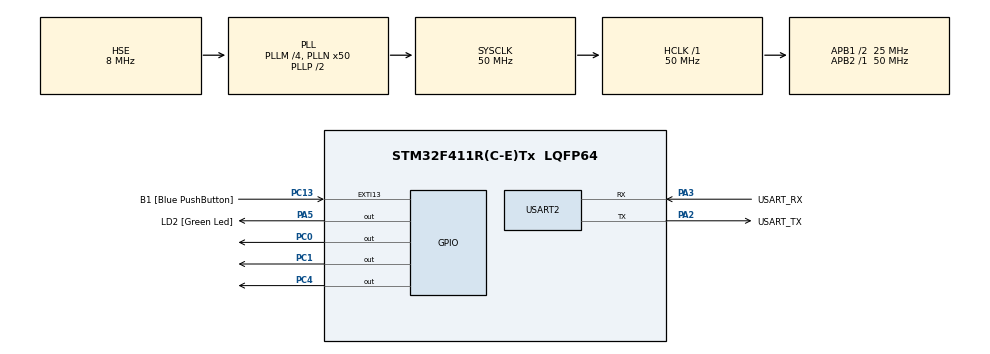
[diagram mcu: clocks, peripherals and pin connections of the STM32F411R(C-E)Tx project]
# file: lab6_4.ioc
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FREERTOS.BinarySemaphores01=myBinarySem01,Dynamic,NULL
FREERTOS.Queues01=myQueue01,16,msg,0,Dynamic,NULL,NULL
FREERTOS.Tasks01=defaultTask,24,128,StartDefaultTask,Default,NULL,Dynamic,NULL,NULL;myTask02,24,1024,StartTask02,Default,NULL,Dynamic,NULL,NULL;myTask03,40,1024,StartTask03,Default,NULL,Dynamic,NULL,NULL;myTask04,8,1024,StartTask04,Default,NULL,Dynamic,NULL,NULL
FREERTOS.Timers01=tim01,Callback01,osTimerPeriodic,Default,NULL,Dynamic,NULL;tim02,Callback02,osTimerPeriodic,Default,NULL,Dynamic,NULL;tim03,Callback03,osTimerPeriodic,Default,NULL,Dynamic,NULL;tim04,Callback04,osTimerPeriodic,Default,NULL,Dynamic,NULL
FREERTOS.configENABLE_FPU=1
FREERTOS.configTICK_RATE_HZ=1000
Mcu.Family=STM32F4
Mcu.Name=STM32F411R(C-E)Tx
Mcu.Package=LQFP64
NVIC.PriorityGroup=NVIC_PRIORITYGROUP_4
NVIC.TIM4_IRQn=true\:15\:0\:false\:false\:true\:false\:false\:true\:true
NVIC.TimeBase=TIM4_IRQn
NVIC.TimeBaseIP=TIM4
PA13.GPIO_Label=TMS
PA13.Mode=Serial_Wire
PA13.Signal=SYS_JTMS-SWDIO
PA14.GPIO_Label=TCK
PA14.Mode=Serial_Wire
PA14.Signal=SYS_JTCK-SWCLK
PA2.GPIO_Label=USART_TX
PA2.Mode=Asynchronous
PA2.Signal=USART2_TX
PA3.GPIO_Label=USART_RX
PA3.Mode=Asynchronous
PA3.Signal=USART2_RX
PA5.GPIO_Label=LD2 [Green Led]
PA5.Signal=GPIO_Output
PB3.GPIO_Label=SWO
PB3.Signal=SYS_JTDO-SWO
PC0.Signal=GPIO_Output
PC1.Signal=GPIO_Output
PC13-ANTI_TAMP.GPIO_Label=B1 [Blue PushButton]
PC13-ANTI_TAMP.GPIO_ModeDefaultEXTI=GPIO_MODE_IT_FALLING
PC13-ANTI_TAMP.Signal=GPXTI13
PC14-OSC32_IN.Mode=LSE-External-Oscillator
PC14-OSC32_IN.Signal=RCC_OSC32_IN
PC15-OSC32_OUT.Mode=LSE-External-Oscillator
PC15-OSC32_OUT.Signal=RCC_OSC32_OUT
PC4.Signal=GPIO_Output
PH0\ -\ OSC_IN.Mode=HSE-External-Clock-Source
PH0\ -\ OSC_IN.Signal=RCC_OSC_IN
PH1\ -\ OSC_OUT.Mode=HSE-External-Clock-Source
PH1\ -\ OSC_OUT.Signal=RCC_OSC_OUT
ProjectManager.HeapSize=0x200
ProjectManager.StackSize=0x400
ProjectManager.TargetToolchain=STM32CubeIDE
RCC.48MHZClocksFreq_Value=25000000
RCC.AHBFreq_Value=50000000
RCC.APB1CLKDivider=RCC_HCLK_DIV2
RCC.APB1Freq_Value=25000000
RCC.APB1TimFreq_Value=50000000
RCC.APB2Freq_Value=50000000
RCC.APB2TimFreq_Value=50000000
RCC.CortexFreq_Value=50000000
RCC.FLatency-AdvancedSettings=FLASH_LATENCY_1
RCC.HCLKFreq_Value=50000000
RCC.HSE_VALUE=8000000
RCC.HSI_VALUE=16000000
RCC.PLLM=4
RCC.PLLN=50
RCC.PLLSourceVirtual=RCC_PLLSOURCE_HSE
RCC.SYSCLKFreq_VALUE=50000000
RCC.SYSCLKSource=RCC_SYSCLKSOURCE_PLLCLK
RCC.VCOOutputFreq_Value=100000000
USART2.VirtualMode=VM_ASYNC
VP_FREERTOS_VS_CMSIS_V2.Mode=CMSIS_V2
VP_SYS_VS_tim4.Mode=TIM4
board=NUCLEO-F411RE

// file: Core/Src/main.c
/* USER CODE BEGIN Header */
/**
  ******************************************************************************
  * @file           : main.c
  * @brief          : Main program body
  ******************************************************************************
  * @attention
  *
  * Copyright (c) 2023 STMicroelectronics.
  * All rights reserved.
  *
  * This software is licensed under terms that can be found in the LICENSE file
  * in the root directory of this software component.
  * If no LICENSE file comes with this software, it is provided AS-IS.
  *
  ******************************************************************************
  */
/* USER CODE END Header */
#include "main.h"
#include "cmsis_os.h"

/* USER CODE BEGIN Includes */
#include <string.h>
#include <stdio.h>
/* USER CODE END Includes */

/* USER CODE BEGIN PTD */
typedef struct {
    char data[32];
} msg;
/* USER CODE END PTD */

UART_HandleTypeDef huart2;

/* Definitions for defaultTask */
osThreadId_t defaultTaskHandle;
const osThreadAttr_t defaultTask_attributes = {
        .name = "defaultTask",
        .stack_size = 128 * 4,
        .priority = (osPriority_t) osPriorityNormal,
};
/* Definitions for myTask02 */
osThreadId_t myTask02Handle;
const osThreadAttr_t myTask02_attributes = {
        .name = "myTask02",
        .stack_size = 1024 * 4,
        .priority = (osPriority_t) osPriorityNormal,
};
/* Definitions for myTask03 */
osThreadId_t myTask03Handle;
const osThreadAttr_t myTask03_attributes = {
        .name = "myTask03",
        .stack_size = 1024 * 4,
        .priority = (osPriority_t) osPriorityHigh,
};
/* Definitions for myTask04 */
osThreadId_t myTask04Handle;
const osThreadAttr_t myTask04_attributes = {
        .name = "myTask04",
        .stack_size = 1024 * 4,
        .priority = (osPriority_t) osPriorityLow,
};
/* Definitions for myQueue01 */
osMessageQueueId_t myQueue01Handle;
const osMessageQueueAttr_t myQueue01_attributes = {
        .name = "myQueue01"
};
/* Definitions for tim01 */
osTimerId_t tim01Handle;
const osTimerAttr_t tim01_attributes = {
        .name = "tim01"
};
/* Definitions for tim02 */
osTimerId_t tim02Handle;
const osTimerAttr_t tim02_attributes = {
        .name = "tim02"
};
/* Definitions for tim03 */
osTimerId_t tim03Handle;
const osTimerAttr_t tim03_attributes = {
        .name = "tim03"
};
/* Definitions for tim04 */
osTimerId_t tim04Handle;
const osTimerAttr_t tim04_attributes = {
        .name = "tim04"
};
/* Definitions for myBinarySem01 */
osSemaphoreId_t myBinarySem01Handle;
const osSemaphoreAttr_t myBinarySem01_attributes = {
        .name = "myBinarySem01"
};
/* USER CODE BEGIN PV */
osMemoryPoolId_t pool;

/* USER CODE END PV */

void SystemClock_Config(void);

static void MX_GPIO_Init(void);

static void MX_USART2_UART_Init(void);

void StartDefaultTask(void *argument);

void StartTask02(void *argument);

void StartTask03(void *argument);

void StartTask04(void *argument);

void Callback01(void *argument);

void Callback02(void *argument);

void Callback03(void *argument);

void Callback04(void *argument);

int main(void) {

    /* MCU Configuration--------------------------------------------------------*/

    /* Reset of all peripherals, Initializes the Flash interface and the Systick. */
    HAL_Init();

    /* Configure the system clock */
    SystemClock_Config();

    /* Initialize all configured peripherals */
    MX_GPIO_Init();
    MX_USART2_UART_Init();

    /* Init scheduler */
    osKernelInitialize();

    /* Create the semaphores(s) */
    /* creation of myBinarySem01 */
    myBinarySem01Handle = osSemaphoreNew(1, 1, &myBinarySem01_attributes);

    /* Create the timer(s) */
    /* creation of tim01 */
    tim01Handle = osTimerNew(Callback01, osTimerPeriodic, NULL, &tim01_attributes);

    /* creation of tim02 */
    tim02Handle = osTimerNew(Callback02, osTimerPeriodic, NULL, &tim02_attributes);

    /* creation of tim03 */
    tim03Handle = osTimerNew(Callback03, osTimerPeriodic, NULL, &tim03_attributes);

    /* creation of tim04 */
    tim04Handle = osTimerNew(Callback04, osTimerPeriodic, NULL, &tim04_attributes);

    /* USER CODE BEGIN RTOS_TIMERS */
    /* start timers, add new ones, ... */
    osTimerStart(tim01Handle, 50);
    osTimerStart(tim02Handle, 18);
    osTimerStart(tim03Handle, 128);
    osTimerStart(tim04Handle, 64);
    /* USER CODE END RTOS_TIMERS */

    /* Create the queue(s) */
    /* creation of myQueue01 */
    myQueue01Handle = osMessageQueueNew(16, sizeof(msg), &myQueue01_attributes);

    /* Create the thread(s) */
    /* creation of defaultTask */
    defaultTaskHandle = osThreadNew(StartDefaultTask, NULL, &defaultTask_attributes);

    /* creation of myTask02 */
    myTask02Handle = osThreadNew(StartTask02, NULL, &myTask02_attributes);

    /* creation of myTask03 */
    myTask03Handle = osThreadNew(StartTask03, NULL, &myTask03_attributes);

    /* creation of myTask04 */
    myTask04Handle = osThreadNew(StartTask04, NULL, &myTask04_attributes);

    /* USER CODE BEGIN RTOS_THREADS */
    /* add threads, ... */
//    pool = osMemoryPoolNew(16, sizeof(msg), NULL);
    /* USER CODE END RTOS_THREADS */

    /* Start scheduler */
    osKernelStart();
    /* We should never get here as control is now taken by the scheduler */
    /* Infinite loop */
    while (1) {

    }
}

void SystemClock_Config(void) {
    RCC_OscInitTypeDef RCC_OscInitStruct = {0};
    RCC_ClkInitTypeDef RCC_ClkInitStruct = {0};

    /** Configure the main internal regulator output voltage
    */
    __HAL_RCC_PWR_CLK_ENABLE();
    __HAL_PWR_VOLTAGESCALING_CONFIG(PWR_REGULATOR_VOLTAGE_SCALE1);

    /** Initializes the RCC Oscillators according to the specified parameters
    * in the RCC_OscInitTypeDef structure.
    */
    RCC_OscInitStruct.OscillatorType = RCC_OSCILLATORTYPE_HSE;
    RCC_OscInitStruct.HSEState = RCC_HSE_BYPASS;
    RCC_OscInitStruct.PLL.PLLState = RCC_PLL_ON;
    RCC_OscInitStruct.PLL.PLLSource = RCC_PLLSOURCE_HSE;
    RCC_OscInitStruct.PLL.PLLM = 4;
    RCC_OscInitStruct.PLL.PLLN = 50;
    RCC_OscInitStruct.PLL.PLLP = RCC_PLLP_DIV2;
    RCC_OscInitStruct.PLL.PLLQ = 4;
    if (HAL_RCC_OscConfig(&RCC_OscInitStruct) != HAL_OK) {
        Error_Handler();
    }

    /** Initializes the CPU, AHB and APB buses clocks
    */
    RCC_ClkInitStruct.ClockType = RCC_CLOCKTYPE_HCLK | RCC_CLOCKTYPE_SYSCLK
                                  | RCC_CLOCKTYPE_PCLK1 | RCC_CLOCKTYPE_PCLK2;
    RCC_ClkInitStruct.SYSCLKSource = RCC_SYSCLKSOURCE_PLLCLK;
    RCC_ClkInitStruct.AHBCLKDivider = RCC_SYSCLK_DIV1;
    RCC_ClkInitStruct.APB1CLKDivider = RCC_HCLK_DIV2;
    RCC_ClkInitStruct.APB2CLKDivider = RCC_HCLK_DIV1;

    if (HAL_RCC_ClockConfig(&RCC_ClkInitStruct, FLASH_LATENCY_1) != HAL_OK) {
        Error_Handler();
    }
}

static void MX_USART2_UART_Init(void) {

    huart2.Instance = USART2;
    huart2.Init.BaudRate = 115200;
    huart2.Init.WordLength = UART_WORDLENGTH_8B;
    huart2.Init.StopBits = UART_STOPBITS_1;
    huart2.Init.Parity = UART_PARITY_NONE;
    huart2.Init.Mode = UART_MODE_TX_RX;
    huart2.Init.HwFlowCtl = UART_HWCONTROL_NONE;
    huart2.Init.OverSampling = UART_OVERSAMPLING_16;
    if (HAL_UART_Init(&huart2) != HAL_OK) {
        Error_Handler();
    }

}

static void MX_GPIO_Init(void) {
    GPIO_InitTypeDef GPIO_InitStruct = {0};

    /* GPIO Ports Clock Enable */
    __HAL_RCC_GPIOC_CLK_ENABLE();
    __HAL_RCC_GPIOH_CLK_ENABLE();
    __HAL_RCC_GPIOA_CLK_ENABLE();
    __HAL_RCC_GPIOB_CLK_ENABLE();

    /*Configure GPIO pin Output Level */
    HAL_GPIO_WritePin(GPIOC, GPIO_PIN_0 | GPIO_PIN_1 | GPIO_PIN_4, GPIO_PIN_RESET);

    /*Configure GPIO pin Output Level */
    HAL_GPIO_WritePin(LD2_GPIO_Port, LD2_Pin, GPIO_PIN_RESET);

    /*Configure GPIO pin : B1_Pin */
    GPIO_InitStruct.Pin = B1_Pin;
    GPIO_InitStruct.Mode = GPIO_MODE_IT_FALLING;
    GPIO_InitStruct.Pull = GPIO_NOPULL;
    HAL_GPIO_Init(B1_GPIO_Port, &GPIO_InitStruct);

    /*Configure GPIO pins : PC0 PC1 PC4 */
    GPIO_InitStruct.Pin = GPIO_PIN_0 | GPIO_PIN_1 | GPIO_PIN_4;
    GPIO_InitStruct.Mode = GPIO_MODE_OUTPUT_PP;
    GPIO_InitStruct.Pull = GPIO_NOPULL;
    GPIO_InitStruct.Speed = GPIO_SPEED_FREQ_LOW;
    HAL_GPIO_Init(GPIOC, &GPIO_InitStruct);

    /*Configure GPIO pin : LD2_Pin */
    GPIO_InitStruct.Pin = LD2_Pin;
    GPIO_InitStruct.Mode = GPIO_MODE_OUTPUT_PP;
    GPIO_InitStruct.Pull = GPIO_NOPULL;
    GPIO_InitStruct.Speed = GPIO_SPEED_FREQ_LOW;
    HAL_GPIO_Init(LD2_GPIO_Port, &GPIO_InitStruct);

}

void StartDefaultTask(void *argument) {
    while (1) {
        osDelay(1);
    }
}

void StartTask02(void *argument) {
    /* USER CODE BEGIN StartTask02 */
    int thread_id = 0;
    int idx = 0;
    msg message = {};
    /* Infinite loop */
    while (1) {
        sprintf(message.data, "TID: %d %d\r\n", thread_id, idx);
        idx++;
        osMessageQueuePut(myQueue01Handle, &message, 0, 0);
        osDelay(10);
    }
    /* USER CODE END StartTask02 */
}

void StartTask03(void *argument) {
    /* USER CODE BEGIN StartTask03 */
    int thread_id = 1;
    int idx = 0;
    msg message = {};
    /* Infinite loop */
    while (1) {
        sprintf(message.data, "TID: %d %d\r\n", thread_id, idx);
        idx++;
        osMessageQueuePut(myQueue01Handle, &message, 0, 0);
        osDelay(10);
    }
    /* USER CODE END StartTask03 */
}

void StartTask04(void *argument) {
    /* USER CODE BEGIN StartTask04 */
    /* Infinite loop */
    msg message;
    osStatus_t stat;
    while (1) {
        stat = osMessageQueueGet(myQueue01Handle, &message, NULL, osWaitForever);
        if (stat == osOK) {
            HAL_UART_Transmit(&huart2, (uint8_t *) message.data, strlen(message.data), 1000);
        }
        osDelay(1);
    }
    /* USER CODE END StartTask04 */
}

/* Callback01 function */
void Callback01(void *argument) {
    /* USER CODE BEGIN Callback01 */
    HAL_GPIO_TogglePin(GPIOA, GPIO_PIN_5);
    /* USER CODE END Callback01 */
}

/* Callback02 function */
void Callback02(void *argument) {
    /* USER CODE BEGIN Callback02 */
    HAL_GPIO_TogglePin(GPIOC, GPIO_PIN_0);
    /* USER CODE END Callback02 */
}

/* Callback03 function */
void Callback03(void *argument) {
    /* USER CODE BEGIN Callback03 */
    HAL_GPIO_TogglePin(GPIOC, GPIO_PIN_1);
    /* USER CODE END Callback03 */
}

/* Callback04 function */
void Callback04(void *argument) {
    /* USER CODE BEGIN Callback04 */
    HAL_GPIO_TogglePin(GPIOC, GPIO_PIN_4);
    /* USER CODE END Callback04 */
}

void HAL_TIM_PeriodElapsedCallback(TIM_HandleTypeDef *htim) {
    if (htim->Instance == TIM4) {
        HAL_IncTick();
    }
}

void Error_Handler(void) {
    __disable_irq();
    while (1) {
    }
}
